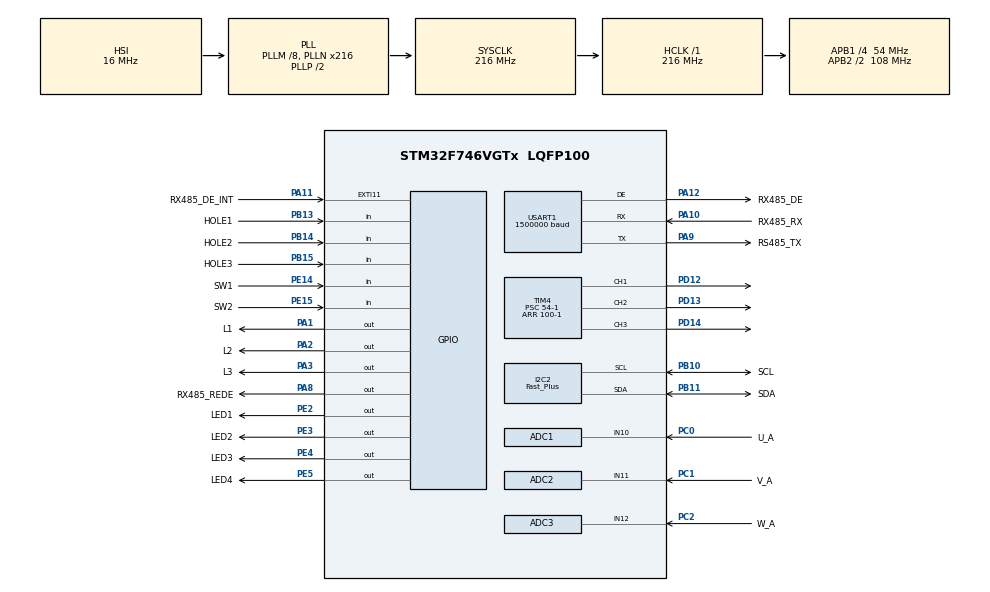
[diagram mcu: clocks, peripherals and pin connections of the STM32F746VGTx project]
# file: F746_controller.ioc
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ADC1.Channel-0\#ChannelRegularConversion=ADC_CHANNEL_10
ADC1.Channel-1\#ChannelInjectedConversion=ADC_CHANNEL_10
ADC1.ClockPrescaler=ADC_CLOCK_SYNC_PCLK_DIV4
ADC1.ContinuousConvMode=DISABLE
ADC1.DMAContinuousRequests=DISABLE
ADC1.DataAlign=ADC_DATAALIGN_RIGHT
ADC1.DiscontinuousConvMode=DISABLE
ADC1.EOCSelection=ADC_EOC_SINGLE_CONV
ADC1.EnableAnalogWatchDog=false
ADC1.ExternalTrigConv=ADC_SOFTWARE_START
ADC1.ExternalTrigConvEdge=ADC_EXTERNALTRIGCONVEDGE_NONE
ADC1.ExternalTrigInjecConv=ADC_EXTERNALTRIGINJECCONV_T2_TRGO
ADC1.ExternalTrigInjecConvEdge=ADC_EXTERNALTRIGINJECCONVEDGE_RISING
ADC1.InjNumberOfConversion=1
ADC1.InjectedConvMode=Discontinuous
ADC1.InjectedOffset-1\#ChannelInjectedConversion=0
ADC1.Mode=ADC_TRIPLEMODE_REGSIMULT_INJECSIMULT
ADC1.NbrOfConversion=1
ADC1.NbrOfConversionFlag=1
ADC1.Rank-0\#ChannelRegularConversion=1
ADC1.Rank-1\#ChannelInjectedConversion=1
ADC1.Resolution=ADC_RESOLUTION_12B
ADC1.SamplingTime-0\#ChannelRegularConversion=ADC_SAMPLETIME_3CYCLES
ADC1.SamplingTime-1\#ChannelInjectedConversion=ADC_SAMPLETIME_3CYCLES
ADC1.ScanConvMode=DISABLE
ADC1.master=1
ADC2.Channel-0\#ChannelRegularConversion=ADC_CHANNEL_11
ADC2.Channel-1\#ChannelInjectedConversion=ADC_CHANNEL_11
ADC2.ClockPrescaler=ADC_CLOCK_SYNC_PCLK_DIV4
ADC2.ContinuousConvMode=DISABLE
ADC2.DMAContinuousRequests=DISABLE
ADC2.DataAlign=ADC_DATAALIGN_RIGHT
ADC2.DiscontinuousConvMode=DISABLE
ADC2.EOCSelection=ADC_EOC_SINGLE_CONV
ADC2.EnableAnalogWatchDog=false
ADC2.InjNumberOfConversion=1
ADC2.InjectedConvMode=Discontinuous
ADC2.InjectedOffset-1\#ChannelInjectedConversion=0
ADC2.Mode=ADC_TRIPLEMODE_REGSIMULT_INJECSIMULT
ADC2.NbrOfConversion=1
ADC2.NbrOfConversionFlag=1
ADC2.Rank-0\#ChannelRegularConversion=1
ADC2.Rank-1\#ChannelInjectedConversion=1
ADC2.Resolution=ADC_RESOLUTION_12B
ADC2.SamplingTime-0\#ChannelRegularConversion=ADC_SAMPLETIME_3CYCLES
ADC2.SamplingTime-1\#ChannelInjectedConversion=ADC_SAMPLETIME_3CYCLES
ADC2.ScanConvMode=DISABLE
ADC3.Channel-0\#ChannelRegularConversion=ADC_CHANNEL_12
ADC3.Channel-1\#ChannelInjectedConversion=ADC_CHANNEL_12
ADC3.ClockPrescaler=ADC_CLOCK_SYNC_PCLK_DIV4
ADC3.ContinuousConvMode=DISABLE
ADC3.DMAContinuousRequests=DISABLE
ADC3.DataAlign=ADC_DATAALIGN_RIGHT
ADC3.DiscontinuousConvMode=DISABLE
ADC3.EOCSelection=ADC_EOC_SINGLE_CONV
ADC3.EnableAnalogWatchDog=false
ADC3.InjNumberOfConversion=1
ADC3.InjectedConvMode=Discontinuous
ADC3.InjectedOffset-1\#ChannelInjectedConversion=0
ADC3.Mode=ADC_TRIPLEMODE_REGSIMULT_INJECSIMULT
ADC3.NbrOfConversion=1
ADC3.NbrOfConversionFlag=1
ADC3.Rank-0\#ChannelRegularConversion=1
ADC3.Rank-1\#ChannelInjectedConversion=1
ADC3.Resolution=ADC_RESOLUTION_12B
ADC3.SamplingTime-0\#ChannelRegularConversion=ADC_SAMPLETIME_3CYCLES
ADC3.SamplingTime-1\#ChannelInjectedConversion=ADC_SAMPLETIME_3CYCLES
ADC3.ScanConvMode=DISABLE
Dma.Request0=USART1_RX
Dma.Request1=USART1_TX
Dma.USART1_RX.0.Direction=DMA_PERIPH_TO_MEMORY
Dma.USART1_RX.0.FIFOMode=DMA_FIFOMODE_DISABLE
Dma.USART1_RX.0.Instance=DMA2_Stream2
Dma.USART1_RX.0.MemDataAlignment=DMA_MDATAALIGN_BYTE
Dma.USART1_RX.0.MemInc=DMA_MINC_ENABLE
Dma.USART1_RX.0.Mode=DMA_CIRCULAR
Dma.USART1_RX.0.PeriphDataAlignment=DMA_PDATAALIGN_BYTE
Dma.USART1_RX.0.PeriphInc=DMA_PINC_DISABLE
Dma.USART1_RX.0.Priority=DMA_PRIORITY_MEDIUM
Dma.USART1_TX.1.Direction=DMA_MEMORY_TO_PERIPH
Dma.USART1_TX.1.FIFOMode=DMA_FIFOMODE_ENABLE
Dma.USART1_TX.1.FIFOThreshold=DMA_FIFO_THRESHOLD_FULL
Dma.USART1_TX.1.Instance=DMA2_Stream7
Dma.USART1_TX.1.MemBurst=DMA_MBURST_SINGLE
Dma.USART1_TX.1.MemDataAlignment=DMA_MDATAALIGN_BYTE
Dma.USART1_TX.1.MemInc=DMA_MINC_ENABLE
Dma.USART1_TX.1.Mode=DMA_NORMAL
Dma.USART1_TX.1.PeriphBurst=DMA_PBURST_SINGLE
Dma.USART1_TX.1.PeriphDataAlignment=DMA_PDATAALIGN_BYTE
Dma.USART1_TX.1.PeriphInc=DMA_PINC_DISABLE
Dma.USART1_TX.1.Priority=DMA_PRIORITY_MEDIUM
I2C2.I2C_Fall_Time=120
I2C2.I2C_Rise_Time=120
I2C2.I2C_Speed_Mode=I2C_Fast_Plus
I2C2.Timing=0x00200105
Mcu.Family=STM32F7
Mcu.Name=STM32F746VGTx
Mcu.Package=LQFP100
NVIC.ADC_IRQn=true\:0\:0\:false\:false\:true\:true
NVIC.DMA2_Stream2_IRQn=true\:0\:0\:false\:false\:true\:false
NVIC.DMA2_Stream7_IRQn=true\:0\:0\:false\:false\:true\:false
NVIC.I2C2_ER_IRQn=true\:0\:0\:false\:false\:true\:true
NVIC.I2C2_EV_IRQn=true\:0\:0\:false\:false\:true\:true
NVIC.PriorityGroup=NVIC_PRIORITYGROUP_4
NVIC.TIM3_IRQn=true\:0\:0\:false\:false\:true\:true
NVIC.TIM4_IRQn=true\:0\:0\:false\:false\:true\:true
NVIC.TIM5_IRQn=true\:0\:0\:false\:false\:true\:true
NVIC.USART1_IRQn=true\:0\:0\:false\:false\:true\:true
PA1.GPIO_Label=L1
PA1.Signal=GPIO_Output
PA10.GPIO_Label=RX485_RX
PA10.Mode=Asynchronous
PA10.Signal=USART1_RX
PA11.GPIO_Label=RX485_DE_INT
PA11.Signal=GPXTI11
PA12.GPIO_Label=RX485_DE
PA12.GPIO_Mode=GPIO_MODE_AF_PP
PA12.Mode=Hardware Flow Control (RS485)
PA12.Signal=USART1_DE
PA13.Mode=Serial_Wire
PA13.Signal=SYS_JTMS-SWDIO
PA14.Mode=Serial_Wire
PA14.Signal=SYS_JTCK-SWCLK
PA2.GPIO_Label=L2
PA2.Signal=GPIO_Output
PA3.GPIO_Label=L3
PA3.Signal=GPIO_Output
PA8.GPIO_Label=RX485_REDE
PA8.Signal=GPIO_Output
PA9.GPIO_Label=RS485_TX
PA9.Mode=Asynchronous
PA9.Signal=USART1_TX
PB10.GPIO_Label=SCL
PB10.Mode=I2C
PB10.Signal=I2C2_SCL
PB11.GPIO_Label=SDA
PB11.Mode=I2C
PB11.Signal=I2C2_SDA
PB13.GPIO_Label=HOLE1
PB13.Signal=GPIO_Input
PB14.GPIO_Label=HOLE2
PB14.Signal=GPIO_Input
PB15.GPIO_Label=HOLE3
PB15.Signal=GPIO_Input
PC0.GPIO_Label=U_A
PC0.Signal=ADCx_IN10
PC1.GPIO_Label=V_A
PC1.Signal=ADCx_IN11
PC14/OSC32_IN.Mode=LSE-External-Oscillator
PC14/OSC32_IN.Signal=RCC_OSC32_IN
PC15/OSC32_OUT.Mode=LSE-External-Oscillator
PC15/OSC32_OUT.Signal=RCC_OSC32_OUT
PC2.GPIO_Label=W_A
PC2.Signal=ADCx_IN12
PD12.Signal=S_TIM4_CH1
PD13.Signal=S_TIM4_CH2
PD14.Signal=S_TIM4_CH3
PE14.GPIO_Label=SW1
PE14.Signal=GPIO_Input
PE15.GPIO_Label=SW2
PE15.Signal=GPIO_Input
PE2.GPIO_Label=LED1
PE2.Signal=GPIO_Output
PE3.GPIO_Label=LED2
PE3.Signal=GPIO_Output
PE4.GPIO_Label=LED3
PE4.Signal=GPIO_Output
PE5.GPIO_Label=LED4
PE5.Signal=GPIO_Output
ProjectManager.HeapSize=0x200
ProjectManager.StackSize=0x400
ProjectManager.TargetToolchain=MDK-ARM V5
RCC.AHBFreq_Value=216000000
RCC.APB1CLKDivider=RCC_HCLK_DIV4
RCC.APB1Freq_Value=54000000
RCC.APB1TimFreq_Value=108000000
RCC.APB2CLKDivider=RCC_HCLK_DIV2
RCC.APB2Freq_Value=108000000
RCC.APB2TimFreq_Value=216000000
RCC.CortexFreq_Value=216000000
RCC.HCLKFreq_Value=216000000
RCC.HSE_VALUE=25000000
RCC.HSI_VALUE=16000000
RCC.I2C2CLockSelection=RCC_I2C2CLKSOURCE_HSI
RCC.PLLM=8
RCC.PLLN=216
RCC.SYSCLKFreq_VALUE=216000000
RCC.SYSCLKSource=RCC_SYSCLKSOURCE_PLLCLK
RCC.USART1CLockSelection=RCC_USART1CLKSOURCE_SYSCLK
RCC.USBFreq_Value=216000000
RCC.VCOOutputFreq_Value=432000000
SH.ADCx_IN10.0=ADC1_IN10,IN10
SH.ADCx_IN11.0=ADC2_IN11,IN11
SH.ADCx_IN12.0=ADC3_IN12,IN12
SH.S_TIM4_CH1.0=TIM4_CH1,PWM Generation1 CH1
SH.S_TIM4_CH2.0=TIM4_CH2,PWM Generation2 CH2
SH.S_TIM4_CH3.0=TIM4_CH3,PWM Generation3 CH3
TIM2.Period=10-1
TIM2.Prescaler=108-1
TIM2.TIM_MasterOutputTrigger=TIM_TRGO_UPDATE
TIM3.Period=1000-1
TIM3.Prescaler=108-1
TIM4.Channel-PWM\ Generation1\ CH1=TIM_CHANNEL_1
TIM4.Channel-PWM\ Generation2\ CH2=TIM_CHANNEL_2
TIM4.Channel-PWM\ Generation3\ CH3=TIM_CHANNEL_3
TIM4.Period=100-1
TIM4.Prescaler=54-1
TIM5.Period=1-1
TIM5.Prescaler=108-1
TIM5.TIM_MasterOutputTrigger=TIM_TRGO_UPDATE
USART1.BaudRate=1500000
USART1.DMADisableonRxErrorParam=ADVFEATURE_DMA_DISABLEONRXERROR
USART1.OverrunDisableParam=ADVFEATURE_OVERRUN_ENABLE
USART1.UART_DEAssertionTime=16
USART1.UART_DEDeassertionTime=16
USART1.VirtualMode-Asynchronous=VM_ASYNC
USART1.VirtualMode-Hardware\ Flow\ Control\ (RS485)=VM_ASYNC
USART1.WordLength=WORDLENGTH_8B
VP_TIM2_VS_ClockSourceINT.Mode=Internal
VP_TIM3_VS_ClockSourceINT.Mode=Internal
VP_TIM4_VS_ClockSourceINT.Mode=Internal
VP_TIM5_VS_ClockSourceINT.Mode=Internal
board=F746_controller

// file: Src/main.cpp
/**
  ******************************************************************************
  * File Name          : main.c
  * Description        : Main program body
  ******************************************************************************
  ** This notice applies to any and all portions of this file
  * that are not between comment pairs USER CODE BEGIN and
  * USER CODE END. Other portions of this file, whether
  * inserted by the user or by software development tools
  * are owned by their respective copyright owners.
  *
  * COPYRIGHT(c) 2018 STMicroelectronics
  *
  * Redistribution and use in source and binary forms, with or without modification,
  * are permitted provided that the following conditions are met:
  *   1. Redistributions of source code must retain the above copyright notice,
  *      this list of conditions and the following disclaimer.
  *   2. Redistributions in binary form must reproduce the above copyright notice,
  *      this list of conditions and the following disclaimer in the documentation
  *      and/or other materials provided with the distribution.
  *   3. Neither the name of STMicroelectronics nor the names of its contributors
  *      may be used to endorse or promote products derived from this software
  *      without specific prior written permission.
  *
  * THIS SOFTWARE IS PROVIDED BY THE COPYRIGHT HOLDERS AND CONTRIBUTORS "AS IS"
  * AND ANY EXPRESS OR IMPLIED WARRANTIES, INCLUDING, BUT NOT LIMITED TO, THE
  * IMPLIED WARRANTIES OF MERCHANTABILITY AND FITNESS FOR A PARTICULAR PURPOSE ARE
  * DISCLAIMED. IN NO EVENT SHALL THE COPYRIGHT HOLDER OR CONTRIBUTORS BE LIABLE
  * FOR ANY DIRECT, INDIRECT, INCIDENTAL, SPECIAL, EXEMPLARY, OR CONSEQUENTIAL
  * DAMAGES (INCLUDING, BUT NOT LIMITED TO, PROCUREMENT OF SUBSTITUTE GOODS OR
  * SERVICES; LOSS OF USE, DATA, OR PROFITS; OR BUSINESS INTERRUPTION) HOWEVER
  * CAUSED AND ON ANY THEORY OF LIABILITY, WHETHER IN CONTRACT, STRICT LIABILITY,
  * OR TORT (INCLUDING NEGLIGENCE OR OTHERWISE) ARISING IN ANY WAY OUT OF THE USE
  * OF THIS SOFTWARE, EVEN IF ADVISED OF THE POSSIBILITY OF SUCH DAMAGE.
  *
  ******************************************************************************
  */

#include "main.h"
#include "stm32f7xx_hal.h"

/* USER CODE BEGIN Includes */
#include <stdio.h>
#include <string.h>
#include <math.h>
#include "LED.h"
#include "switch.h"
#include "RS485.h"
#include "AngleSensor.h"
#include "PWM.h"
#include "ADConv.h"
#include "Parser.h"
#include "b3m.h"
#include "STM_BLDCMotor.h"
#include "Flash.h"

/* USER CODE END Includes */

ADC_HandleTypeDef hadc1;
ADC_HandleTypeDef hadc2;
ADC_HandleTypeDef hadc3;

I2C_HandleTypeDef hi2c2;

TIM_HandleTypeDef htim2;
TIM_HandleTypeDef htim3;
TIM_HandleTypeDef htim4;
TIM_HandleTypeDef htim5;

UART_HandleTypeDef huart1;
DMA_HandleTypeDef hdma_usart1_rx;
DMA_HandleTypeDef hdma_usart1_tx;

/* USER CODE BEGIN PV */
/* Private variables ---------------------------------------------------------*/

// version { year, month, day, no }
char version[4] = { 18, 02, 21, 2 };

#define GAIN 10.0
#define GAIN_I 0.0
#define PUNCH 0.0
#define DEAD_BAND_WIDTH 0.0
#define MAX_ANGLE 60.0
#define MIN_ANGLE -60.0
#define BAUDRATE 1500000
#define FLASH_ADDRESS 0x08010000

#ifndef M_PI
#define M_PI           3.14159265358979323846f
#endif

#define max(a, b) ((a) > (b) ? (a) : (b))
#define min(a, b) ((a) < (b) ? (a) : (b))

#define USE_WAKEUP_MODE

extern Property property;

static const unsigned int MAX_COMMAND_LEN = 2048;
unsigned char command_data[MAX_COMMAND_LEN];
int command_len = 0;
const int LED_TOGGLE_COUNT = 500;
unsigned char send_buf[256];
unsigned char send_buf_len = 0;

const int stocked_number = 1000;
const int period_ms = 5;
short stocked_target_position[stocked_number];
short stocked_encoder_position[stocked_number];
short stocked_motor_position[stocked_number];
short stocked_pwm_duty[stocked_number];

struct RobotStatus {
  float target_angle;
  float target_total_angle;
  float initial_angle;
  bool is_servo_on;
  bool change_target;
  bool isWakeupMode;
  int led_state;
  int led_count;
  float err_i;
  int pulse_per_rotate;
  int control_mode;
} status;

/* USER CODE END PV */

void SystemClock_Config(void);
static void MX_GPIO_Init(void);
static void MX_DMA_Init(void);
static void MX_ADC1_Init(void);
static void MX_ADC2_Init(void);
static void MX_ADC3_Init(void);
static void MX_I2C2_Init(void);
static void MX_TIM3_Init(void);
static void MX_TIM4_Init(void);
static void MX_USART1_UART_Init(void);
static void MX_TIM2_Init(void);
static void MX_TIM5_Init(void);

void HAL_TIM_MspPostInit(TIM_HandleTypeDef *htim);

/* USER CODE BEGIN PFP */
/* Private function prototypes -----------------------------------------------*/

/* USER CODE END PFP */

/* USER CODE BEGIN 0 */

volatile long time_ms = 0;
STM_BLDCMotor *p_motor = NULL;
int prev_hole_state = -1;
ADConv *p_adc = NULL;
int prev_read_buffer_len = 0;
RS485 *p_rs485_main = NULL;
Parser *p_parser = NULL;
int guard_counter = 0;
int command = 0;

void HAL_TIM_PeriodElapsedCallback(TIM_HandleTypeDef *htim)
{
  if(htim->Instance == TIM4)      // PWM
  {
    if (p_motor != NULL){
      p_motor->update();
      int hole_state = p_motor->getHoleState();
      if (hole_state != prev_hole_state){
        p_motor->status_changed();
        prev_hole_state = hole_state;
      }
    }
  }
  else if(htim->Instance == TIM5) // 100us timer (RS485)
  {
    if (p_rs485_main != NULL &&  p_parser != NULL){
      int read_buffer_len = p_rs485_main->readBufferLen(); // guard time > 100us
      if (read_buffer_len != 0 && read_buffer_len == prev_read_buffer_len) {
        int command_len = p_rs485_main->read(command_data, MAX_COMMAND_LEN);
        int command_temp = p_parser->setCommand(command_data, command_len);
        if (command_temp != 0) {
          command = command_temp;
        }
        if (p_rs485_main->_direction == RS485::INPUT) p_rs485_main->resetRead();
        if (send_buf_len == 0) {
          send_buf_len = p_parser->getReply(send_buf);
        }
        guard_counter = 2;
      }
      if (send_buf_len > 0 && guard_counter == 0) {
        p_rs485_main->write(send_buf, send_buf_len);
        send_buf_len = 0;
      }
      if (guard_counter > 0) guard_counter --;
      prev_read_buffer_len = read_buffer_len;
    }
  }
  else if(htim->Instance == TIM3) // 1ms timer (main loop)
  {
    time_ms ++;
  }
}

float deg100_2rad(float deg){
  return deg * M_PI / 18000.0f;
}

float deg2rad(float deg){
  return deg * M_PI / 180.0f;
}

float rad2deg100(float rad){
  return rad * 18000.0f / M_PI;
}

void initialize(float angle)
{
  status.initial_angle = status.target_angle = angle;   // read angle
  status.target_total_angle = angle;
  status.is_servo_on = false;
  status.led_state = 0;
  status.led_count = 0;
  status.change_target = false;
  status.isWakeupMode = false;
  status.err_i = 0.0;
  status.control_mode = B3M_OPTIONS_RUN_FREE;

  memset((void *)&property, 0, sizeof(property));
  property.ID = 0;
  property.Baudrate = BAUDRATE;
  property.PositionMinLimit = MIN_ANGLE * 100;
  property.PositionMaxLimit = MAX_ANGLE * 100;
  property.PositionCenterOffset = rad2deg100(0);
  property.TorqueLimit = 100;
  property.DeadBandWidth = DEAD_BAND_WIDTH * 100;
  property.Kp0 = GAIN * 100;
  property.Ki0 = GAIN_I * 100;
  property.StaticFriction0 = PUNCH *100;
  property.FwVersion = (version[0] << 24) + (version[1] << 16) + (version[2] << 8) + version[3];
}

/* USER CODE END 0 */

int main(void)
{

  /* MCU Configuration----------------------------------------------------------*/

  /* Reset of all peripherals, Initializes the Flash interface and the Systick. */
  HAL_Init();

  /* USER CODE BEGIN Init */
  initialize(0);
  memcpy((void *)&property, (void *)FLASH_ADDRESS, sizeof(property));

  /* USER CODE END Init */

  /* Configure the system clock */
  SystemClock_Config();

  /* Initialize all configured peripherals */
  MX_GPIO_Init();
  MX_DMA_Init();
  MX_ADC1_Init();
  MX_ADC2_Init();
  MX_ADC3_Init();
  MX_I2C2_Init();
  MX_TIM3_Init();
  MX_TIM4_Init();
  MX_USART1_UART_Init();
  MX_TIM2_Init();
  MX_TIM5_Init();

  /* USER CODE BEGIN 2 */
  LED led1(0), led2(1), led3(2), led4(3);
  RS485 rs485(&huart1);

  p_rs485_main = &rs485;
  AngleSensor angle_sensor(&hi2c2, (property.MCUTempLimit == 0) ? AngleSensor::AS5600 : AngleSensor::AS5048B);
  float dir = (property.MotorTempLimit == 0) ? 1.0 : -1.0;
  HAL_TIM_Base_Start_IT(&htim3);
  HAL_TIM_Base_Start_IT(&htim4);
  HAL_TIM_Base_Start_IT(&htim5);
  ADConv adc(&hadc1, &hadc2, &hadc3);
  p_adc = &adc;
  STM_BLDCMotor motor(&htim4, &angle_sensor);
  p_motor = &motor;
  Parser commnand_parser;
  p_parser = &commnand_parser;
  Flash flash;

  bool is_status_changed = false;
  int time_from_last_update = 0;
  int stocked_count = stocked_number;
  int sub_count = period_ms;

  HAL_Delay(100);
  angle_sensor.startMeasure();
  HAL_Delay(100);
  if (property.dummy1 != 100) initialize(0);
  property.dummy1 = 100;  // saved rom flag

  motor.setHoleStateInitAngle(deg100_2rad(property.PositionCenterOffset));
  property.FwVersion = (version[0] << 24) + (version[1] << 16) + (version[2] << 8) + version[3];
  status.pulse_per_rotate = property.MCUTempLimit;
  if (status.pulse_per_rotate <= 0) status.pulse_per_rotate = 2000.0f;

  /* USER CODE END 2 */

  /* Infinite loop */
  /* USER CODE BEGIN WHILE */
  long prev_time_ms = time_ms;
  motor.servoOn();//  motor = 0.1;
  float prev_integrated_angle = dir * motor.getIntegratedAngleRad();
  int prev_angle_sensor_counter = 0;
  for(long count = 0; ; count ++)
  {

    status.led_count ++;
    if (status.led_count > LED_TOGGLE_COUNT){
      status.led_state ^= 1;
      led1 = status.led_state;
      status.led_count = 0;
    }
#ifdef USE_WAKEUP_MODE
    status.isWakeupMode = (count < 5000) ? true : false;
#endif

    if (command == B3M_CMD_WRITE || command == B3M_CMD_READ){
      led2 = led2 ^ 1;
    } else if (command == B3M_CMD_SAVE){
      flash.write(FLASH_ADDRESS, (uint8_t *)&property, sizeof(property));
    } else if (command == B3M_CMD_LOAD){
      memcpy((void *)&property, (void *)FLASH_ADDRESS, sizeof(property));
    } else if (command == B3M_CMD_RESET){
      initialize(0);
      led2 = led3 = led4 = 1;
      HAL_Delay(1000);
      led2 = led3 = led4 = 0;
    } else if (command == B3M_CMD_DATA_STOCK){
      stocked_count = 0;
    } else if (command == B3M_CMD_DATA_PLAY){
      led4 = 1;
      for(int i = 0; i < stocked_number; i ++){
        rs485.printf("%d, %d, %d, %d\r\n",
          stocked_target_position[i], stocked_encoder_position[i],
          stocked_motor_position[i], stocked_pwm_duty[i]);
        HAL_Delay(10);
      }
      led4 = 0;
    }
    command = 0;

    int address, data;
    int com_num = commnand_parser.getNextCommand(&address, &data);
    if (com_num > 0){
      switch(address){
        case B3M_SYSTEM_ID:
          property.ID = data;
          break;
        case B3M_SYSTEM_POSITION_MIN:
          property.PositionMinLimit = data;
          break;
        case B3M_SYSTEM_POSITION_MAX:
          property.PositionMaxLimit = data;
          break;
        case B3M_SYSTEM_POSITION_CENTER:
          property.PositionCenterOffset = data;
          break;
        case B3M_SYSTEM_MCU_TEMP_LIMIT:
          property.MCUTempLimit = data;
          break;
        case B3M_SYSTEM_MOTOR_TEMP_LIMIT:
          property.MotorTempLimit = data;
          break;
        case B3M_SYSTEM_DEADBAND_WIDTH:
          property.DeadBandWidth = data;
          break;
        case B3M_SYSTEM_TORQUE_LIMIT:
          property.TorqueLimit = data;
          break;
        case B3M_SERVO_DESIRED_POSITION:
          data = max(min(data, property.PositionMaxLimit), property.PositionMinLimit);
          status.target_angle = deg100_2rad(data)/*  + deg100_2rad(property.PositionCenterOffset)*/;
          property.DesiredPosition = rad2deg100(status.target_angle);
          is_status_changed = true;
          break;
        case B3M_CONTROL_KP0:
          property.Kp0 = data;
          break;
        case B3M_CONTROL_KD0:
          property.Kd0 = data;
          break;
        case B3M_CONTROL_KI0:
          property.Ki0 = data;
          status.err_i = 0;
          break;
        case B3M_CONTROL_STATIC_FRICTION0:
          property.StaticFriction0 = data;
          break;
        case B3M_CONTROL_KP1:
          property.Kp1 = data;
          break;
        case B3M_SERVO_SERVO_MODE:
          status.is_servo_on = (data == B3M_OPTIONS_CONTROL_POSITION || data == B3M_OPTIONS_CONTROL_VELOCITY  || data == B3M_OPTIONS_CONTROL_TORQUE) ? true : false;
          led3 = (status.is_servo_on) ? 1 : 0;
          if (status.is_servo_on) {
            if (data == B3M_OPTIONS_CONTROL_VELOCITY) {
              status.control_mode = B3M_OPTIONS_CONTROL_VELOCITY;
              status.target_total_angle = dir * motor.getIntegratedAngleRad();
            } else {
              status.control_mode = B3M_OPTIONS_CONTROL_TORQUE;
            }
          }
//          if (data == B3M_OPTIONS_RUN_HOLD) status.control_mode = B3M_OPTIONS_RUN_HOLD;
//          status.initial_angle = status.target_angle = angle_sensor.getAngleRad();
          status.initial_angle = status.target_angle = 0;
          if (angle_sensor.getError()) break;
          property.DesiredPosition = rad2deg100(status.target_angle);
          break;
      }
    }

    property.PreviousPosition = property.CurrentPosition;
    short current_position = rad2deg100(motor.getWheelAngleRad());

    property.CurrentPosition = current_position;
    float period = 0.001f;
    float velocity = (dir * motor.getIntegratedAngleRad() - prev_integrated_angle) / period;
    prev_integrated_angle = dir * motor.getIntegratedAngleRad();
    property.CurrentVelocity = rad2deg100(velocity / 10.0f);
    property.DesiredVelosity = rad2deg100(status.target_angle);

    status.target_total_angle += status.target_angle * 10 * period;
//    float error = deg100_2rad(property.CurrentPosition) - status.target_angle;
//    float error = status.target_total_angle - motor.getIntegratedAngleRad();
    float error = status.target_total_angle - dir * motor.getIntegratedAngleRad();
//    while(error > M_PI) error -= 2.0f * M_PI;
//    while(error < -M_PI) error += 2.0f * M_PI;
    status.err_i += error * 0.001f;
    status.err_i = max(min(status.err_i, 0.001f), -0.001f);

    float gain = property.Kp0 / 100.0f;
    float gain1 = property.Kp1 / 100.0f;
    float gain_d = property.Kd0 / 100.0f;
    float gain_i = property.Ki0 / 100.0f;
    float punch = property.StaticFriction0 / 100.0f;
    float pwm = gain_i * status.err_i;
    pwm += gain_d * (status.target_angle * 10 - velocity);
    float margin = deg100_2rad(property.DeadBandWidth);
    if (fabs(error) > margin){
      if (error > 0){
        error -= margin;
        pwm += gain * error + punch;
      } else {
        error += margin;
        pwm += gain * error - punch;
      }
    } else {
        pwm += gain1 * error;
    }
    if (status.control_mode == B3M_OPTIONS_CONTROL_TORQUE) {    // Torque control mode
      pwm = status.target_angle / M_PI;
    }
    float max_torque = property.TorqueLimit / 100.0f;
    float val = max(min(pwm, max_torque), -max_torque);
    if (status.isWakeupMode) val *= 0.3f;

    if (status.is_servo_on) motor = val;
    else motor = 0;
    property.PwmDuty = motor * 100;

    if ((is_status_changed)||(time_from_last_update >= 10)){
      motor.status_changed();
      is_status_changed = false;
      time_from_last_update = 0;
    }
    time_from_last_update ++;

    if (stocked_count < stocked_number){
      sub_count --;
      if (sub_count <= 0){
        sub_count = period_ms;
        float angle = angle_sensor.read();
        if (angle_sensor.getError()) angle = 0;
        stocked_target_position[stocked_count] = property.DesiredPosition - property.PositionCenterOffset;
        stocked_encoder_position[stocked_count] = rad2deg100(angle) - property.PositionCenterOffset;
        stocked_motor_position[stocked_count] = property.CurrentPosition - property.PositionCenterOffset;
        stocked_pwm_duty[stocked_count] = property.PwmDuty;
        stocked_count ++;
        led4 = 1;
      }
    } else {
      led4 = 0;
    }
    if (angle_sensor.counter == prev_angle_sensor_counter){
      led4 = 1;
      HAL_Delay(10);  // min 10
      HAL_I2C_DeInit(&hi2c2);
      HAL_Delay(10);  // min 10
      __HAL_RCC_I2C2_FORCE_RESET();
      HAL_Delay(2);
      __HAL_RCC_I2C2_RELEASE_RESET();
      HAL_Delay(10);  // min 10
      HAL_I2C_Init(&hi2c2);
      HAL_Delay(10);  // min 10
      angle_sensor.startMeasure();
      prev_angle_sensor_counter = angle_sensor.counter;
      HAL_Delay(10);  // min 10
      led4 = 0;
    } else {
      prev_angle_sensor_counter = angle_sensor.counter;
    }

    motor.setHoleStateInitAngle(deg100_2rad(property.PositionCenterOffset));
//    if (status.control_mode == B3M_OPTIONS_RUN_HOLD){
#if 0
    {
      for(count = 0; ; count ++){
        float angle = angle_sensor.getAngleDeg();

        if (count % 200 == 0){
          float ratio = motor;
          float integrated_angle = dir * motor.getIntegratedAngleRad();
          float rot = (integrated_angle - prev_integrated_angle) / (2.0f * M_PI) / 0.2f * 32.0f;
          prev_integrated_angle = integrated_angle;
          char buf[100];
          sprintf(buf, "%f %f %f %f %d\r\n", ratio, rot, motor.getHoleStateInitAngle(), angle_sensor.getAngleRad(), prev_hole_state);
    //      sprintf(buf, "%f %f %f %d\r\n", ratio, rot, dir * motor.getIntegratedAngleRad()/29, prev_hole_state);
    //      sprintf(buf, "%f %f %f %d\r\n", ratio, rot, as5600.getAngleRad(), prev_hole_state);
          int c = rs485.getc();
    //      int len = rs485.read(command_data, MAX_COMMAND_LEN);
    //      int c = EOF;
    //      if (c != EOF){
    //        command_data[0] = c;
    //      }
    //      int c = (len > 0) ? command_data[0] : EOF;
          if (c == 'a' && motor <  0.5f) motor = motor + 0.1f;
          if (c == 'z' && motor > -0.5f) motor = motor - 0.1f;
          if (c == 'q') motor.setHoleStateInitAngle(motor.getHoleStateInitAngle() + 0.001f);
          if (c == 'w') motor.setHoleStateInitAngle(motor.getHoleStateInitAngle() - 0.001f);
          if (c == 'h') motor.controlHole(0,0.2);
          rs485.write(buf, strlen(buf));
        }
        if (count % 500 == 0) led1 = led1 ^ 1;
        while(time_ms == prev_time_ms);
        prev_time_ms = time_ms;
      }
    }
#endif
    while(time_ms == prev_time_ms);
    prev_time_ms = time_ms;

  /* USER CODE END WHILE */

  }

}

/** System Clock Configuration
*/
void SystemClock_Config(void)
{

  RCC_OscInitTypeDef RCC_OscInitStruct;
  RCC_ClkInitTypeDef RCC_ClkInitStruct;
  RCC_PeriphCLKInitTypeDef PeriphClkInitStruct;

    /**Configure the main internal regulator output voltage
    */
  __HAL_RCC_PWR_CLK_ENABLE();

  __HAL_PWR_VOLTAGESCALING_CONFIG(PWR_REGULATOR_VOLTAGE_SCALE1);

    /**Initializes the CPU, AHB and APB busses clocks
    */
  RCC_OscInitStruct.OscillatorType = RCC_OSCILLATORTYPE_HSI;
  RCC_OscInitStruct.HSIState = RCC_HSI_ON;
  RCC_OscInitStruct.HSICalibrationValue = 16;
  RCC_OscInitStruct.PLL.PLLState = RCC_PLL_ON;
  RCC_OscInitStruct.PLL.PLLSource = RCC_PLLSOURCE_HSI;
  RCC_OscInitStruct.PLL.PLLM = 8;
  RCC_OscInitStruct.PLL.PLLN = 216;
  RCC_OscInitStruct.PLL.PLLP = RCC_PLLP_DIV2;
  RCC_OscInitStruct.PLL.PLLQ = 2;
  if (HAL_RCC_OscConfig(&RCC_OscInitStruct) != HAL_OK)
  {
    _Error_Handler(__FILE__, __LINE__);
  }

    /**Activate the Over-Drive mode
    */
  if (HAL_PWREx_EnableOverDrive() != HAL_OK)
  {
    _Error_Handler(__FILE__, __LINE__);
  }

    /**Initializes the CPU, AHB and APB busses clocks
    */
  RCC_ClkInitStruct.ClockType = RCC_CLOCKTYPE_HCLK|RCC_CLOCKTYPE_SYSCLK
                              |RCC_CLOCKTYPE_PCLK1|RCC_CLOCKTYPE_PCLK2;
  RCC_ClkInitStruct.SYSCLKSource = RCC_SYSCLKSOURCE_PLLCLK;
  RCC_ClkInitStruct.AHBCLKDivider = RCC_SYSCLK_DIV1;
  RCC_ClkInitStruct.APB1CLKDivider = RCC_HCLK_DIV4;
  RCC_ClkInitStruct.APB2CLKDivider = RCC_HCLK_DIV2;

  if (HAL_RCC_ClockConfig(&RCC_ClkInitStruct, FLASH_LATENCY_7) != HAL_OK)
  {
    _Error_Handler(__FILE__, __LINE__);
  }

  PeriphClkInitStruct.PeriphClockSelection = RCC_PERIPHCLK_USART1|RCC_PERIPHCLK_I2C2;
  PeriphClkInitStruct.Usart1ClockSelection = RCC_USART1CLKSOURCE_SYSCLK;
  PeriphClkInitStruct.I2c2ClockSelection = RCC_I2C2CLKSOURCE_HSI;
  if (HAL_RCCEx_PeriphCLKConfig(&PeriphClkInitStruct) != HAL_OK)
  {
    _Error_Handler(__FILE__, __LINE__);
  }

    /**Configure the Systick interrupt time
    */
  HAL_SYSTICK_Config(HAL_RCC_GetHCLKFreq()/1000);

    /**Configure the Systick
    */
  HAL_SYSTICK_CLKSourceConfig(SYSTICK_CLKSOURCE_HCLK);

  /* SysTick_IRQn interrupt configuration */
  HAL_NVIC_SetPriority(SysTick_IRQn, 0, 0);
}

/* ADC1 init function */
static void MX_ADC1_Init(void)
{

  ADC_MultiModeTypeDef multimode;
  ADC_ChannelConfTypeDef sConfig;
  ADC_InjectionConfTypeDef sConfigInjected;

    /**Configure the global features of the ADC (Clock, Resolution, Data Alignment and number of conversion)
    */
  hadc1.Instance = ADC1;
  hadc1.Init.ClockPrescaler = ADC_CLOCK_SYNC_PCLK_DIV4;
  hadc1.Init.Resolution = ADC_RESOLUTION_12B;
  hadc1.Init.ScanConvMode = DISABLE;
  hadc1.Init.ContinuousConvMode = DISABLE;
  hadc1.Init.DiscontinuousConvMode = DISABLE;
  hadc1.Init.ExternalTrigConvEdge = ADC_EXTERNALTRIGCONVEDGE_NONE;
  hadc1.Init.ExternalTrigConv = ADC_SOFTWARE_START;
  hadc1.Init.DataAlign = ADC_DATAALIGN_RIGHT;
  hadc1.Init.NbrOfConversion = 1;
  hadc1.Init.DMAContinuousRequests = DISABLE;
  hadc1.Init.EOCSelection = ADC_EOC_SINGLE_CONV;
  if (HAL_ADC_Init(&hadc1) != HAL_OK)
  {
    _Error_Handler(__FILE__, __LINE__);
  }

    /**Configure the ADC multi-mode
    */
  multimode.Mode = ADC_TRIPLEMODE_REGSIMULT_INJECSIMULT;
  multimode.DMAAccessMode = ADC_DMAACCESSMODE_DISABLED;
  multimode.TwoSamplingDelay = ADC_TWOSAMPLINGDELAY_5CYCLES;
  if (HAL_ADCEx_MultiModeConfigChannel(&hadc1, &multimode) != HAL_OK)
  {
    _Error_Handler(__FILE__, __LINE__);
  }

    /**Configure for the selected ADC regular channel its corresponding rank in the sequencer and its sample time.
    */
  sConfig.Channel = ADC_CHANNEL_10;
  sConfig.Rank = 1;
  sConfig.SamplingTime = ADC_SAMPLETIME_3CYCLES;
  if (HAL_ADC_ConfigChannel(&hadc1, &sConfig) != HAL_OK)
  {
    _Error_Handler(__FILE__, __LINE__);
  }

    /**Configures for the selected ADC injected channel its corresponding rank in the sequencer and its sample time
    */
  sConfigInjected.InjectedChannel = ADC_CHANNEL_10;
  sConfigInjected.InjectedRank = 1;
  sConfigInjected.InjectedNbrOfConversion = 1;
  sConfigInjected.InjectedSamplingTime = ADC_SAMPLETIME_3CYCLES;
  sConfigInjected.ExternalTrigInjecConvEdge = ADC_EXTERNALTRIGINJECCONVEDGE_RISING;
  sConfigInjected.ExternalTrigInjecConv = ADC_EXTERNALTRIGINJECCONV_T2_TRGO;
  sConfigInjected.AutoInjectedConv = DISABLE;
  sConfigInjected.InjectedDiscontinuousConvMode = ENABLE;
  sConfigInjected.InjectedOffset = 0;
  if (HAL_ADCEx_InjectedConfigChannel(&hadc1, &sConfigInjected) != HAL_OK)
  {
    _Error_Handler(__FILE__, __LINE__);
  }

}

/* ADC2 init function */
static void MX_ADC2_Init(void)
{

  ADC_ChannelConfTypeDef sConfig;
  ADC_InjectionConfTypeDef sConfigInjected;

    /**Configure the global features of the ADC (Clock, Resolution, Data Alignment and number of conversion)
    */
  hadc2.Instance = ADC2;
  hadc2.Init.ClockPrescaler = ADC_CLOCK_SYNC_PCLK_DIV4;
  hadc2.Init.Resolution = ADC_RESOLUTION_12B;
  hadc2.Init.ScanConvMode = DISABLE;
  hadc2.Init.ContinuousConvMode = DISABLE;
  hadc2.Init.DiscontinuousConvMode = DISABLE;
  hadc2.Init.DataAlign = ADC_DATAALIGN_RIGHT;
  hadc2.Init.NbrOfConversion = 1;
  hadc2.Init.DMAContinuousRequests = DISABLE;
  hadc2.Init.EOCSelection = ADC_EOC_SINGLE_CONV;
  if (HAL_ADC_Init(&hadc2) != HAL_OK)
  {
    _Error_Handler(__FILE__, __LINE__);
  }

    /**Configure for the selected ADC regular channel its corresponding rank in the sequencer and its sample time.
    */
  sConfig.Channel = ADC_CHANNEL_11;
  sConfig.Rank = 1;
  sConfig.SamplingTime = ADC_SAMPLETIME_3CYCLES;
  if (HAL_ADC_ConfigChannel(&hadc2, &sConfig) != HAL_OK)
  {
    _Error_Handler(__FILE__, __LINE__);
  }

    /**Configures for the selected ADC injected channel its corresponding rank in the sequencer and its sample time
    */
  sConfigInjected.InjectedChannel = ADC_CHANNEL_11;
  sConfigInjected.InjectedRank = 1;
  sConfigInjected.InjectedNbrOfConversion = 1;
  sConfigInjected.InjectedSamplingTime = ADC_SAMPLETIME_3CYCLES;
  sConfigInjected.AutoInjectedConv = DISABLE;
  sConfigInjected.InjectedDiscontinuousConvMode = ENABLE;
  sConfigInjected.InjectedOffset = 0;
  if (HAL_ADCEx_InjectedConfigChannel(&hadc2, &sConfigInjected) != HAL_OK)
  {
    _Error_Handler(__FILE__, __LINE__);
  }

}

/* ADC3 init function */
static void MX_ADC3_Init(void)
{

  ADC_ChannelConfTypeDef sConfig;
  ADC_InjectionConfTypeDef sConfigInjected;

    /**Configure the global features of the ADC (Clock, Resolution, Data Alignment and number of conversion)
    */
  hadc3.Instance = ADC3;
  hadc3.Init.ClockPrescaler = ADC_CLOCK_SYNC_PCLK_DIV4;
  hadc3.Init.Resolution = ADC_RESOLUTION_12B;
  hadc3.Init.ScanConvMode = DISABLE;
  hadc3.Init.ContinuousConvMode = DISABLE;
  hadc3.Init.DiscontinuousConvMode = DISABLE;
  hadc3.Init.DataAlign = ADC_DATAALIGN_RIGHT;
  hadc3.Init.NbrOfConversion = 1;
  hadc3.Init.DMAContinuousRequests = DISABLE;
  hadc3.Init.EOCSelection = ADC_EOC_SINGLE_CONV;
  if (HAL_ADC_Init(&hadc3) != HAL_OK)
  {
    _Error_Handler(__FILE__, __LINE__);
  }

    /**Configure for the selected ADC regular channel its corresponding rank in the sequencer and its sample time.
    */
  sConfig.Channel = ADC_CHANNEL_12;
  sConfig.Rank = 1;
  sConfig.SamplingTime = ADC_SAMPLETIME_3CYCLES;
  if (HAL_ADC_ConfigChannel(&hadc3, &sConfig) != HAL_OK)
  {
    _Error_Handler(__FILE__, __LINE__);
  }

    /**Configures for the selected ADC injected channel its corresponding rank in the sequencer and its sample time
    */
  sConfigInjected.InjectedChannel = ADC_CHANNEL_12;
  sConfigInjected.InjectedRank = 1;
  sConfigInjected.InjectedNbrOfConversion = 1;
  sConfigInjected.InjectedSamplingTime = ADC_SAMPLETIME_3CYCLES;
  sConfigInjected.AutoInjectedConv = DISABLE;
  sConfigInjected.InjectedDiscontinuousConvMode = ENABLE;
  sConfigInjected.InjectedOffset = 0;
  if (HAL_ADCEx_InjectedConfigChannel(&hadc3, &sConfigInjected) != HAL_OK)
  {
    _Error_Handler(__FILE__, __LINE__);
  }

}

/* I2C2 init function */
static void MX_I2C2_Init(void)
{

  hi2c2.Instance = I2C2;
if (property.MCUTempLimit == 0) {
  hi2c2.Init.Timing = 0x00200105;
} else {
  hi2c2.Init.Timing = 0x00610611;
}
  hi2c2.Init.OwnAddress1 = 0;
  hi2c2.Init.AddressingMode = I2C_ADDRESSINGMODE_7BIT;
  hi2c2.Init.DualAddressMode = I2C_DUALADDRESS_DISABLE;
  hi2c2.Init.OwnAddress2 = 0;
  hi2c2.Init.OwnAddress2Masks = I2C_OA2_NOMASK;
  hi2c2.Init.GeneralCallMode = I2C_GENERALCALL_DISABLE;
  hi2c2.Init.NoStretchMode = I2C_NOSTRETCH_DISABLE;
  if (HAL_I2C_Init(&hi2c2) != HAL_OK)
  {
    _Error_Handler(__FILE__, __LINE__);
  }

    /**Configure Analogue filter
    */
  if (HAL_I2CEx_ConfigAnalogFilter(&hi2c2, I2C_ANALOGFILTER_ENABLE) != HAL_OK)
  {
    _Error_Handler(__FILE__, __LINE__);
  }

    /**Configure Digital filter
    */
  if (HAL_I2CEx_ConfigDigitalFilter(&hi2c2, 0) != HAL_OK)
  {
    _Error_Handler(__FILE__, __LINE__);
  }

}

/* TIM2 init function */
static void MX_TIM2_Init(void)
{

  TIM_ClockConfigTypeDef sClockSourceConfig;
  TIM_MasterConfigTypeDef sMasterConfig;

  htim2.Instance = TIM2;
  htim2.Init.Prescaler = 108-1;
  htim2.Init.CounterMode = TIM_COUNTERMODE_UP;
  htim2.Init.Period = 10-1;
  htim2.Init.ClockDivision = TIM_CLOCKDIVISION_DIV1;
  htim2.Init.AutoReloadPreload = TIM_AUTORELOAD_PRELOAD_DISABLE;
  if (HAL_TIM_Base_Init(&htim2) != HAL_OK)
  {
    _Error_Handler(__FILE__, __LINE__);
  }

  sClockSourceConfig.ClockSource = TIM_CLOCKSOURCE_INTERNAL;
  if (HAL_TIM_ConfigClockSource(&htim2, &sClockSourceConfig) != HAL_OK)
  {
    _Error_Handler(__FILE__, __LINE__);
  }

  sMasterConfig.MasterOutputTrigger = TIM_TRGO_UPDATE;
  sMasterConfig.MasterSlaveMode = TIM_MASTERSLAVEMODE_DISABLE;
  if (HAL_TIMEx_MasterConfigSynchronization(&htim2, &sMasterConfig) != HAL_OK)
  {
    _Error_Handler(__FILE__, __LINE__);
  }

}

/* TIM3 init function */
static void MX_TIM3_Init(void)
{

  TIM_ClockConfigTypeDef sClockSourceConfig;
  TIM_MasterConfigTypeDef sMasterConfig;

  htim3.Instance = TIM3;
  htim3.Init.Prescaler = 108-1;
  htim3.Init.CounterMode = TIM_COUNTERMODE_UP;
  htim3.Init.Period = 1000-1;
  htim3.Init.ClockDivision = TIM_CLOCKDIVISION_DIV1;
  htim3.Init.AutoReloadPreload = TIM_AUTORELOAD_PRELOAD_DISABLE;
  if (HAL_TIM_Base_Init(&htim3) != HAL_OK)
  {
    _Error_Handler(__FILE__, __LINE__);
  }

  sClockSourceConfig.ClockSource = TIM_CLOCKSOURCE_INTERNAL;
  if (HAL_TIM_ConfigClockSource(&htim3, &sClockSourceConfig) != HAL_OK)
  {
    _Error_Handler(__FILE__, __LINE__);
  }

  sMasterConfig.MasterOutputTrigger = TIM_TRGO_RESET;
  sMasterConfig.MasterSlaveMode = TIM_MASTERSLAVEMODE_DISABLE;
  if (HAL_TIMEx_MasterConfigSynchronization(&htim3, &sMasterConfig) != HAL_OK)
  {
    _Error_Handler(__FILE__, __LINE__);
  }

}

/* TIM4 init function */
static void MX_TIM4_Init(void)
{

  TIM_ClockConfigTypeDef sClockSourceConfig;
  TIM_MasterConfigTypeDef sMasterConfig;
  TIM_OC_InitTypeDef sConfigOC;

  htim4.Instance = TIM4;
  htim4.Init.Prescaler = 54-1;
  htim4.Init.CounterMode = TIM_COUNTERMODE_UP;
  htim4.Init.Period = 100-1;
  htim4.Init.ClockDivision = TIM_CLOCKDIVISION_DIV1;
  htim4.Init.AutoReloadPreload = TIM_AUTORELOAD_PRELOAD_DISABLE;
  if (HAL_TIM_Base_Init(&htim4) != HAL_OK)
  {
    _Error_Handler(__FILE__, __LINE__);
  }

  sClockSourceConfig.ClockSource = TIM_CLOCKSOURCE_INTERNAL;
  if (HAL_TIM_ConfigClockSource(&htim4, &sClockSourceConfig) != HAL_OK)
  {
    _Error_Handler(__FILE__, __LINE__);
  }

  if (HAL_TIM_PWM_Init(&htim4) != HAL_OK)
  {
    _Error_Handler(__FILE__, __LINE__);
  }

  sMasterConfig.MasterOutputTrigger = TIM_TRGO_RESET;
  sMasterConfig.MasterSlaveMode = TIM_MASTERSLAVEMODE_DISABLE;
  if (HAL_TIMEx_MasterConfigSynchronization(&htim4, &sMasterConfig) != HAL_OK)
  {
    _Error_Handler(__FILE__, __LINE__);
  }

  sConfigOC.OCMode = TIM_OCMODE_PWM1;
  sConfigOC.Pulse = 0;
  sConfigOC.OCPolarity = TIM_OCPOLARITY_HIGH;
  sConfigOC.OCFastMode = TIM_OCFAST_DISABLE;
  if (HAL_TIM_PWM_ConfigChannel(&htim4, &sConfigOC, TIM_CHANNEL_1) != HAL_OK)
  {
    _Error_Handler(__FILE__, __LINE__);
  }

  if (HAL_TIM_PWM_ConfigChannel(&htim4, &sConfigOC, TIM_CHANNEL_2) != HAL_OK)
  {
    _Error_Handler(__FILE__, __LINE__);
  }

  if (HAL_TIM_PWM_ConfigChannel(&htim4, &sConfigOC, TIM_CHANNEL_3) != HAL_OK)
  {
    _Error_Handler(__FILE__, __LINE__);
  }

  HAL_TIM_MspPostInit(&htim4);

}

/* TIM5 init function */
static void MX_TIM5_Init(void)
{

  TIM_ClockConfigTypeDef sClockSourceConfig;
  TIM_MasterConfigTypeDef sMasterConfig;

  htim5.Instance = TIM5;
  htim5.Init.Prescaler = 108-1;
  htim5.Init.CounterMode = TIM_COUNTERMODE_UP;
  htim5.Init.Period = 100-1;
  htim5.Init.ClockDivision = TIM_CLOCKDIVISION_DIV1;
  htim5.Init.AutoReloadPreload = TIM_AUTORELOAD_PRELOAD_DISABLE;
  if (HAL_TIM_Base_Init(&htim5) != HAL_OK)
  {
    _Error_Handler(__FILE__, __LINE__);
  }

  sClockSourceConfig.ClockSource = TIM_CLOCKSOURCE_INTERNAL;
  if (HAL_TIM_ConfigClockSource(&htim5, &sClockSourceConfig) != HAL_OK)
  {
    _Error_Handler(__FILE__, __LINE__);
  }

  sMasterConfig.MasterOutputTrigger = TIM_TRGO_UPDATE;
  sMasterConfig.MasterSlaveMode = TIM_MASTERSLAVEMODE_DISABLE;
  if (HAL_TIMEx_MasterConfigSynchronization(&htim5, &sMasterConfig) != HAL_OK)
  {
    _Error_Handler(__FILE__, __LINE__);
  }

}

/* USART1 init function */
static void MX_USART1_UART_Init(void)
{

  huart1.Instance = USART1;
  huart1.Init.BaudRate = 1500000;
  huart1.Init.WordLength = UART_WORDLENGTH_8B;
  huart1.Init.StopBits = UART_STOPBITS_1;
  huart1.Init.Parity = UART_PARITY_NONE;
  huart1.Init.Mode = UART_MODE_TX_RX;
  huart1.Init.HwFlowCtl = UART_HWCONTROL_NONE;
  huart1.Init.OverSampling = UART_OVERSAMPLING_16;
  huart1.Init.OneBitSampling = UART_ONE_BIT_SAMPLE_DISABLE;
  huart1.AdvancedInit.AdvFeatureInit = UART_ADVFEATURE_DMADISABLEONERROR_INIT;
  huart1.AdvancedInit.DMADisableonRxError = UART_ADVFEATURE_DMA_DISABLEONRXERROR;
  if (HAL_RS485Ex_Init(&huart1, UART_DE_POLARITY_HIGH, 16, 16) != HAL_OK)
  {
    _Error_Handler(__FILE__, __LINE__);
  }

}

static void MX_DMA_Init(void)
{
  /* DMA controller clock enable */
  __HAL_RCC_DMA2_CLK_ENABLE();

  /* DMA interrupt init */
  /* DMA2_Stream2_IRQn interrupt configuration */
  HAL_NVIC_SetPriority(DMA2_Stream2_IRQn, 0, 0);
  HAL_NVIC_EnableIRQ(DMA2_Stream2_IRQn);
  /* DMA2_Stream7_IRQn interrupt configuration */
  HAL_NVIC_SetPriority(DMA2_Stream7_IRQn, 0, 0);
  HAL_NVIC_EnableIRQ(DMA2_Stream7_IRQn);

}

/** Configure pins as
        * Analog
        * Input
        * Output
        * EVENT_OUT
        * EXTI
*/
static void MX_GPIO_Init(void)
{

  GPIO_InitTypeDef GPIO_InitStruct;

  /* GPIO Ports Clock Enable */
  __HAL_RCC_GPIOE_CLK_ENABLE();
  __HAL_RCC_GPIOC_CLK_ENABLE();
  __HAL_RCC_GPIOA_CLK_ENABLE();
  __HAL_RCC_GPIOB_CLK_ENABLE();
  __HAL_RCC_GPIOD_CLK_ENABLE();

  /*Configure GPIO pin Output Level */
  HAL_GPIO_WritePin(GPIOE, LED1_Pin|LED2_Pin|LED3_Pin|LED4_Pin, GPIO_PIN_RESET);

  /*Configure GPIO pin Output Level */
  HAL_GPIO_WritePin(GPIOA, L1_Pin|L2_Pin|L3_Pin|RX485_REDE_Pin, GPIO_PIN_RESET);

  /*Configure GPIO pins : LED1_Pin LED2_Pin LED3_Pin LED4_Pin */
  GPIO_InitStruct.Pin = LED1_Pin|LED2_Pin|LED3_Pin|LED4_Pin;
  GPIO_InitStruct.Mode = GPIO_MODE_OUTPUT_PP;
  GPIO_InitStruct.Pull = GPIO_NOPULL;
  GPIO_InitStruct.Speed = GPIO_SPEED_FREQ_LOW;
  HAL_GPIO_Init(GPIOE, &GPIO_InitStruct);

  /*Configure GPIO pins : L1_Pin L2_Pin L3_Pin RX485_REDE_Pin */
  GPIO_InitStruct.Pin = L1_Pin|L2_Pin|L3_Pin|RX485_REDE_Pin;
  GPIO_InitStruct.Mode = GPIO_MODE_OUTPUT_PP;
  GPIO_InitStruct.Pull = GPIO_NOPULL;
  GPIO_InitStruct.Speed = GPIO_SPEED_FREQ_LOW;
  HAL_GPIO_Init(GPIOA, &GPIO_InitStruct);

  /*Configure GPIO pins : SW1_Pin SW2_Pin */
  GPIO_InitStruct.Pin = SW1_Pin|SW2_Pin;
  GPIO_InitStruct.Mode = GPIO_MODE_INPUT;
  GPIO_InitStruct.Pull = GPIO_NOPULL;
  HAL_GPIO_Init(GPIOE, &GPIO_InitStruct);

  /*Configure GPIO pins : HOLE1_Pin HOLE2_Pin HOLE3_Pin */
  GPIO_InitStruct.Pin = HOLE1_Pin|HOLE2_Pin|HOLE3_Pin;
  GPIO_InitStruct.Mode = GPIO_MODE_INPUT;
  GPIO_InitStruct.Pull = GPIO_NOPULL;
  HAL_GPIO_Init(GPIOB, &GPIO_InitStruct);

  /*Configure GPIO pin : RX485_DE_INT_Pin */
  GPIO_InitStruct.Pin = RX485_DE_INT_Pin;
  GPIO_InitStruct.Mode = GPIO_MODE_IT_RISING;
  GPIO_InitStruct.Pull = GPIO_NOPULL;
  HAL_GPIO_Init(RX485_DE_INT_GPIO_Port, &GPIO_InitStruct);

}

void _Error_Handler(char * file, int line)
{
  while(1)
  {
  }
}

/************************ (C) COPYRIGHT STMicroelectronics *****END OF FILE****/
